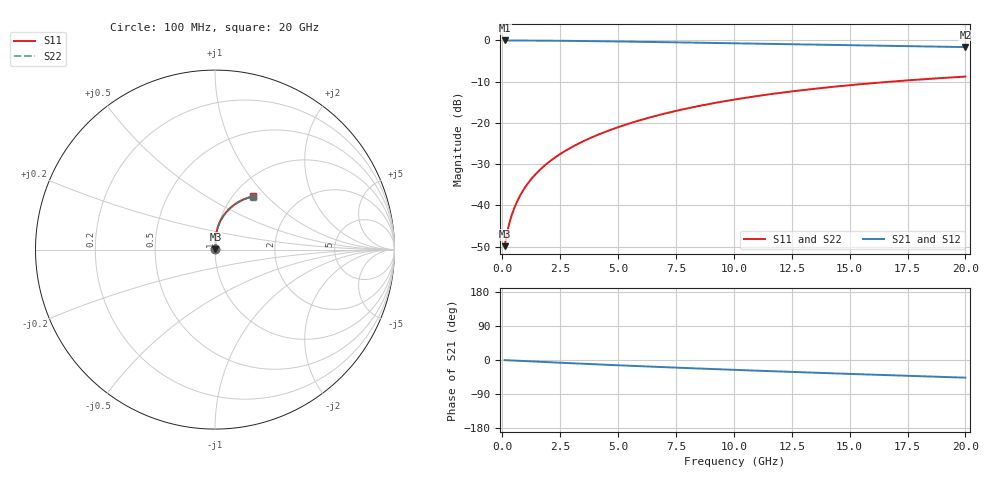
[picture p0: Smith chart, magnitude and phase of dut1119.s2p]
! Touchstone file exported from HFSS 2024.1.0
!  File:  C:/UserFiles/LocalFiles/RDL_TSV_Batchsim/temp_RDL_bottom_1119_1780054773.aedt
!  Generated:  07:41:34 PM May 29, 2026
!  Design:  RDL_bottom
!  Project:  temp_RDL_bottom_1119_1780054773
!  Setup:  Setup1
!  Solution:  Sweep
! Variables:
!  dtsv = 10.80580581um
!  hbump = 3um
!  htsv = 66.23um
!  ldown = 694.17um
!  lrdl = 100um
!  p = 40
!  p1 = 51.52um
!  rhole = 1um
!  t = 450um
!  tdown = 4.08um
!  trdl = 3.915915916um
!  wdown = 25.38um
!  wrdl = 20um
# GHz S MA R 50.000000
! Terminal data exported
! Port[1] = RDL1_T1
! Port[2] = RDL1_T2
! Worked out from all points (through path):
!   200 points, 100 MHz to 20 GHz, reference 50 ohm
!   highest |S21| = -0.02 dB at 100 MHz (marker M1); lowest = -1.6 dB at 20 GHz (marker M2)
!   group delay of S21, straight-line fit = 6.39 ps
!   lowest |S11| = -49.9 dB at 100 MHz (marker M3), VSWR 1.01, Z = 50.3 + j0.189 ohm
!   |S11| at or under -10 dB: start of sweep to 16.8 GHz
!   |S22| runs from -49.9 to -8.8 dB; largest |S21 - S12| = 1.1e-14
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0.1  0.003206 36.0  0.9974 -0.3  0.9974 -0.3  0.003206 36.0
! Gamma 0 0 0 0
! Port Impedance 50 0 50 0
0.2  0.00457 52.5  0.9972 -0.6  0.9972 -0.6  0.00457 52.5
0.3  0.006027 60.8  0.9969 -0.9  0.9969 -0.9  0.006027 60.8
0.4  0.007503 66.1  0.9967 -1.2  0.9967 -1.2  0.007503 66.1
0.5  0.009001 69.8  0.9965 -1.5  0.9965 -1.5  0.009001 69.8
0.6  0.01052 72.6  0.9963 -1.8  0.9963 -1.8  0.01052 72.6
0.8  0.01363 76.5  0.9959 -2.3  0.9959 -2.3  0.01363 76.5
1.1  0.01841 80.0  0.9951 -3.2  0.9951 -3.2  0.01841 80.0
1.3  0.02165 81.6  0.9945 -3.8  0.9945 -3.8  0.02165 81.6
1.6  0.0266 83.2  0.9934 -4.6  0.9934 -4.6  0.02659 83.1
2.1  0.03502 84.8  0.9911 -6.1  0.9911 -6.1  0.03502 84.8
2.7  0.04546 85.8  0.9877 -7.8  0.9877 -7.8  0.04545 85.8
3.5  0.05993 86.2  0.9822 -10.0  0.9822 -10.0  0.05992 86.2
4.2  0.07311 86.1  0.9767 -11.8  0.9767 -11.8  0.07308 86.1
5  0.08868 85.5  0.9698 -13.9  0.9698 -13.9  0.08865 85.4
6.8  0.1252 82.9  0.9531 -18.5  0.9531 -18.5  0.1251 82.8
8.4  0.1584 79.8  0.9376 -22.3  0.9376 -22.3  0.1583 79.7
10.1  0.1933 76.1  0.921 -26.2  0.921 -26.2  0.1932 76.0
11.7  0.2251 72.4  0.9056 -29.7  0.9056 -29.7  0.225 72.4
13.4  0.2575 68.5  0.8893 -33.4  0.8893 -33.4  0.2573 68.5
16.7  0.3146 61.2  0.8584 -40.1  0.8584 -40.1  0.3144 61.2
20  0.3639 54.4  0.8286 -46.6  0.8286 -46.6  0.3637 54.4
